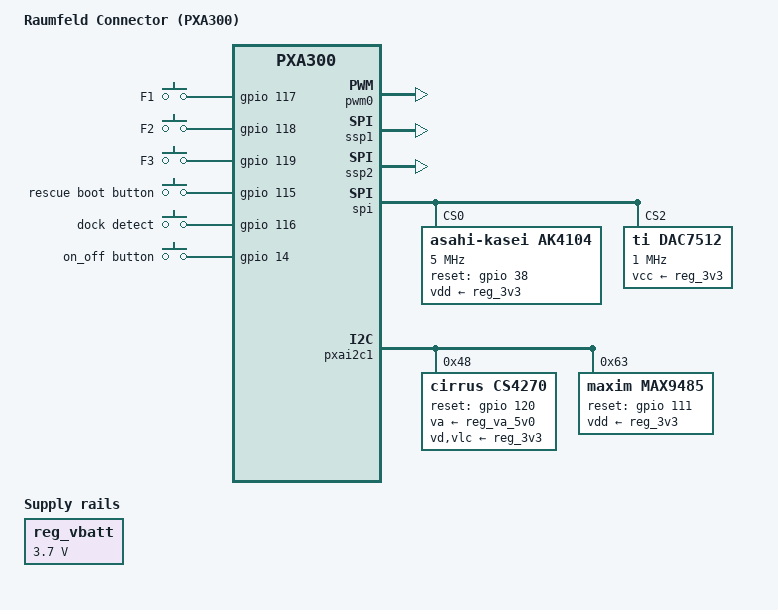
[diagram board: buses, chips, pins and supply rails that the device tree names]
/dts-v1/;

#include "pxa300-raumfeld-common.dtsi"
#include <dt-bindings/clock/maxim,max9485.h>

/ {
	model = "Raumfeld Connector (PXA300)";
	compatible = "raumfeld,raumfeld-connector-pxa300-rev2", "marvell,pxa300";

	pxabus {
		smsc@10000000 {
			compatible = "smsc,lan9115";
			pinctrl-single,pins = <
				MFP_PIN_PXA300(39) MFP_AF0	/* RESET */
			>;
			reg = <0x10000000 0x100000>;
			phy-mode = "mii";
			interrupt-parent = <&gpio>;
			interrupts = <40 IRQ_TYPE_EDGE_FALLING>;
			vdd33a-supply = <&reg_3v3>;
			vddvario-supply = <&reg_1v8>;
			reset-gpio = <&gpio 39 GPIO_ACTIVE_LOW>;
			//reg-shift = <0>;
			reg-io-width = <4>;
			smsc,save-mac-address;
			smsc,irq-push-pull;
		};
	};

	gpio-keys@0 {
		compatible = "gpio-keys";
		pinctrl-names = "default";
		//pinctrl-0 = <&gpio_keys_pins>;

		f1 {
			label = "F1";
			gpios = <&gpio 117 GPIO_ACTIVE_HIGH>;
			linux,code = <KEY_F1>;
			gpio-key,wakeup;
		};

		f2 {
			label = "F2";
			gpios = <&gpio 118 GPIO_ACTIVE_HIGH>;
			linux,code = <KEY_F2>;
		};

		f3 {
			label = "F3";
			gpios = <&gpio 119 GPIO_ACTIVE_HIGH>;
			linux,code = <KEY_F3>;
		};

		f4 {
			label = "rescue boot button";
			gpios = <&gpio 115 GPIO_ACTIVE_HIGH>;
			linux,code = <KEY_F4>;
		};

		f5 {
			label = "dock detect";
			gpios = <&gpio 116 GPIO_ACTIVE_HIGH>;
			linux,code = <KEY_F5>;
		};

		f6 {
			label = "on_off button";
			gpios = <&gpio 14 GPIO_ACTIVE_HIGH>;
			linux,code = <KEY_F6>;
			gpio-key,wakeup;
		};
	};

	rotary@0 {
		status = "disabled";
		compatible = "rotary-encoder";
		gpios = <
			&gpio 19 GPIO_ACTIVE_LOW
			&gpio 20 GPIO_ACTIVE_HIGH
		>;
		linux,axis = <REL_X>;
		rotary-encoder,relative-axis;
	};

	onewire@0 {
		status = "disabled";
		compatible = "w1-gpio";
		gpios = <
			&gpio 126 GPIO_ACTIVE_HIGH
			&gpio 105 GPIO_ACTIVE_LOW
		>;
	};

	reg_vbatt: voltage_vbatt {
		compatible = "regulator-fixed";
		regulator-name = "vbatt-fixed-supply";
		regulator-min-microvolt = <3700000>;
		regulator-max-microvolt = <3700000>;
		regulator-always-on;
	};

	backlight {
		status = "disabled";
		compatible = "pwm-backlight";
		pwms = <&pwm0 100000>;

		brightness-levels = <
			 0  1  2  3  4  5  6  7  8  9
			10 11 12 13 14 15 16 17 18 19
			20 21 22 23 24 25 26 27 28 29
			30 31 32 33 34 35 36 37 38 39
			40 41 42 43 44 45 46 47 48 49
			50 51 52 53 54 55 56 57 58 59
			60 61 62 63 64 65 66 67 68 69
			70 71 72 73 74 75 76 77 78 79
			80 81 82 83 84 85 86 87 88 89
			90 91 92 93 94 95 96 97 98 99
			100
		>;
		default-brightness-level = <6>;

		power-supply = <&reg_vbatt>;
	};

	wm8782: wm8782 {
		status = "disabled";
		compatible = "wm8782";
	};

	sound {
		compatible = "simple-audio-card";
		simple-audio-card,name = "Raumfeld Connector";

		simple-audio-card,dai-link@0 {
			reg = <0>;
			format = "i2s";
			bitclock-master = <&dailink_master_analog>;
			frame-master = <&dailink_master_analog>;
			mclk-fs = <256>;

			dailink_master_analog: cpu {
				clocks = <&max9485 MAX9485_CLKOUT1>;
				sound-dai = <&ssp_dai0>;
			};

			codec {
				sound-dai = <&cs4270>;
			};
		};

		simple-audio-card,dai-link@1 {
			reg = <1>;
			format = "i2s";
			bitclock-master = <&dailink_master_digital>;
			frame-master = <&dailink_master_digital>;
			mclk-fs = <256>;

			dailink_master_digital: cpu {
				clocks = <&max9485 MAX9485_CLKOUT1>;
				sound-dai = <&ssp_dai1>;
			};

			codec {
				sound-dai = <&ak4104>;
			};
		};
	};
};

&pwm0 {
	status = "okay";
};

&ssp1 {
	status = "okay";
};

&ssp2 {
	status = "okay";
};

&spi {
	ak4104: ak4104@0 {
		compatible = "asahi-kasei,ak4104";
		reg = <0>;
		vdd-supply = <&reg_3v3>;
		spi-max-frequency = <5000000>;
		reset-gpio = <&gpio 38 GPIO_ACTIVE_HIGH>;
		#sound-dai-cells = <0>;
	};

	lis302@1 {
		status = "disabled";
		compatible = "st,lis302dl-spi";
		pinctrl-names = "default";
		pinctrl-0 = <&lis302_pins>;
		reg = <1>;
		spi-max-frequency = <1000000>;
		interrupt-parent = <&gpio>;
		interrupts = <104 IRQ_TYPE_EDGE_FALLING>;

		st,click-single-x;
		st,click-single-y;
		st,click-single-z;
		st,click-thresh-x = <10>;
		st,click-thresh-y = <10>;
		st,click-thresh-z = <10>;
		st,irq1-click;
		st,irq2-click;
		st,wakeup-x-lo;
		st,wakeup-x-hi;
		st,wakeup-y-lo;
		st,wakeup-y-hi;
		st,wakeup-z-lo;
		st,wakeup-z-hi;
	};

	dac7512@2 {
		compatible = "ti,dac7512";
		reg = <2>;
		spi-max-frequency = <1000000>;
		vcc-supply = <&reg_3v3>;
	};
};

&pxai2c1 {
	cs4270: cs4270@48 {
		compatible = "cirrus,cs4270";
		pinctrl-names = "default";
		pinctrl-0 = <&cs4270_pins>;
		reg = <0x48>;
		va-supply = <&reg_va_5v0>;
		vd-supply = <&reg_3v3>;
		vlc-supply = <&reg_3v3>;
		reset-gpio = <&gpio 120 GPIO_ACTIVE_HIGH>;
		#sound-dai-cells = <0>;
	};

	eeti_ts: eeti_ts@a {
		status = "disabled";
		compatible = "eeti,touchscreen-i2c";
		pinctrl-names = "default";
		pinctrl-0 = <&eeti_ts_pins>;
		reg = <0xa>;
		interrupt-parent = <&gpio>;
		interrupts = <32 IRQ_TYPE_EDGE_FALLING>;
	};

	max9485: max9485@63 {
		compatible = "maxim,max9485";
		pinctrl-names = "default";
		pinctrl-0 = <&max9485_pins>;
		reg = <0x63>;
		vdd-supply = <&reg_3v3>;
		clock-names = "xclk";
		clocks = <&xo_27mhz>;
		reset-gpios = <&gpio 111 GPIO_ACTIVE_HIGH>;
		#clock-cells = <1>;
		//clock-output-names = "a", "b", "c", "d";
	};

	st320: st320@1a {
		status = "disabled";
		compatible = "st,sta32x";
		reg = <0x1a>;
		Vdda-supply = <&reg_3v3>;
		Vdd3-supply = <&reg_3v3>;
		Vcc-supply = <&reg_va_5v0>;
	};
};

&pinctrl {
	lis302_pins: lis302_pins {
		pinctrl-single,pins = <
			MFP_PIN_PXA300(104) MFP_AF0	/* IRQ	*/
		>;
		pinctrl-single,low-power-mode = MFP_LPM(MFP_LPM_PULL_LOW);
	};

	cs4270_pins: cs4270_pins {
		pinctrl-single,pins = <
			MFP_PIN_PXA300(120) MFP_AF0	/* RESET */
		>;
		pinctrl-single,low-power-mode = MFP_LPM(MFP_LPM_PULL_LOW);
	};

	eeti_ts_pins: eeti_ts_pins {
		pinctrl-single,pins = <
			MFP_PIN_PXA300(32) MFP_AF0	/* IRQ */
		>;
		pinctrl-single,low-power-mode = MFP_LPM(MFP_LPM_PULL_LOW);
	};

	max9485_pins: max9485_pins {
		pinctrl-single,pins = <
			MFP_PIN_PXA300(111) MFP_AF0	/* RESET */
		>;
		pinctrl-single,low-power-mode = MFP_LPM(MFP_LPM_PULL_LOW);
	};
};
